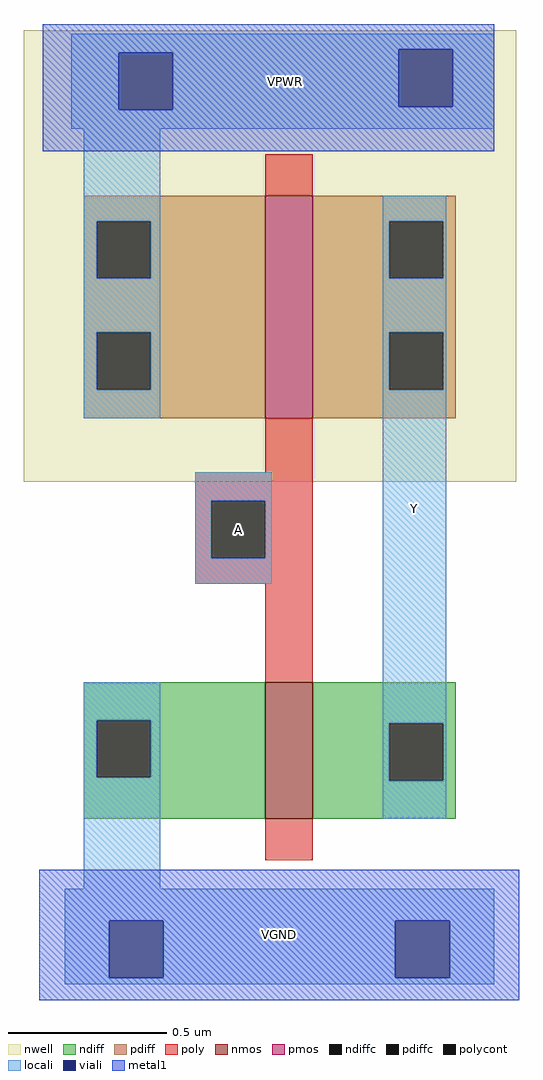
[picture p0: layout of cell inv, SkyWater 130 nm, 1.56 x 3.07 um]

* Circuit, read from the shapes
.subckt inv A Y VGND VPWR VNB VPB
XM1 Y A VGND VNB sky130_fd_pr__nfet_01v8 w=0.43 l=0.15
XM2 Y A VPWR VPB sky130_fd_pr__pfet_01v8 w=0.7 l=0.15
.ends

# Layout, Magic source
magic
tech sky130A
<< nwell >>
rect -13 146 142 288
<< nmos >>
rect 63 40 78 83
<< pmos >>
rect 63 166 78 236
<< ndiff >>
rect 6 71 63 83
rect 6 53 10 71
rect 27 53 63 71
rect 6 40 63 53
rect 78 70 123 83
rect 78 52 102 70
rect 119 52 123 70
rect 78 40 123 52
<< pdiff >>
rect 6 228 63 236
rect 6 210 10 228
rect 27 210 63 228
rect 6 193 63 210
rect 6 175 10 193
rect 27 175 63 193
rect 6 166 63 175
rect 78 228 123 236
rect 78 210 102 228
rect 119 210 123 228
rect 78 193 123 210
rect 78 175 102 193
rect 119 175 123 193
rect 78 166 123 175
<< ndiffc >>
rect 10 53 27 71
rect 102 52 119 70
<< pdiffc >>
rect 10 210 27 228
rect 10 175 27 193
rect 102 210 119 228
rect 102 175 119 193
<< poly >>
rect 63 236 78 249
rect 63 149 78 166
rect 41 140 78 149
rect 41 122 46 140
rect 63 122 78 140
rect 41 114 78 122
rect 63 83 78 114
rect 63 27 78 40
<< polycont >>
rect 46 122 63 140
<< locali >>
rect 2 282 135 287
rect 2 281 105 282
rect 2 263 17 281
rect 34 264 105 281
rect 122 264 135 282
rect 34 263 135 264
rect 2 257 135 263
rect 6 228 30 257
rect 6 210 10 228
rect 27 210 30 228
rect 6 193 30 210
rect 6 175 10 193
rect 27 175 30 193
rect 6 166 30 175
rect 100 228 120 236
rect 100 210 102 228
rect 119 210 120 228
rect 100 193 120 210
rect 100 175 102 193
rect 119 175 120 193
rect 41 140 65 149
rect 41 122 46 140
rect 63 122 65 140
rect 41 114 65 122
rect 6 71 30 83
rect 6 53 10 71
rect 27 53 30 71
rect 6 18 30 53
rect 100 70 120 175
rect 100 52 102 70
rect 119 52 120 70
rect 100 40 120 52
rect 0 8 135 18
rect 0 -10 14 8
rect 31 -10 104 8
rect 121 -10 135 8
rect 0 -12 135 -10
<< viali >>
rect 17 263 34 281
rect 105 264 122 282
rect 14 -10 31 8
rect 104 -10 121 8
<< metal1 >>
rect -7 282 135 290
rect -7 281 105 282
rect -7 263 17 281
rect 34 264 105 281
rect 122 264 135 282
rect 34 263 135 264
rect -7 250 135 263
rect -8 8 143 24
rect -8 -10 14 8
rect 31 -10 104 8
rect 121 -10 143 8
rect -8 -17 143 -10
<< labels >>
flabel locali s 100 70 120 205 0 FreeSans 120 0 0 0 Y
port 2 nsew signal output
flabel metal1 31 -17 104 24 0 FreeSans 120 0 0 0 VGND
port 3 nsew ground bidirectional
flabel metal1 34 257 105 287 0 FreeSans 120 0 0 0 VPWR
port 4 nsew power bidirectional
flabel locali s 46 122 63 140 0 FreeSans 120 0 0 0 A
port 1 nsew signal input
flabel pwell 31 -17 104 24 0 FreeSans 120 0 0 0 VNB
port 5 nsew ground bidirectional
flabel nwell 34 257 105 287 0 FreeSans 120 0 0 0 VPB
port 6 nsew power bidirectional
<< properties >>
string FIXED_BBOX 0 0 138 272
<< end >>
